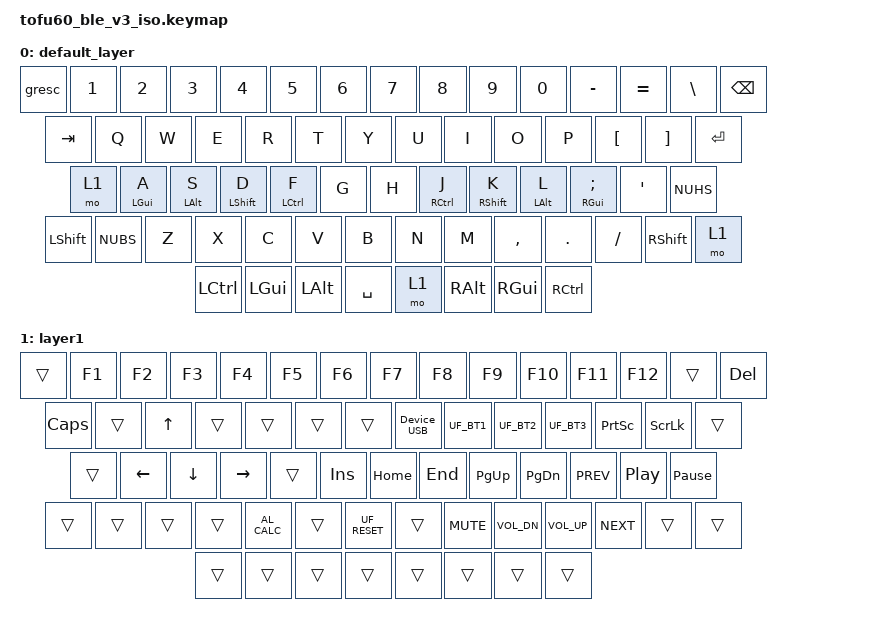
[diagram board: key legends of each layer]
#include "common.keymap"

#define UF_RESET bootloader_reset 0 0
#define UF_BT1 device_bt1 0 0
#define UF_BT2 device_bt2 0 1
#define UF_BT3 device_bt3 0 2

/ {
    keymap {
        compatible = "zmk,keymap";
        
        default_layer {

            bindings = <
    &gresc  &kp N1 &kp N2 &kp N3 &kp N4 &kp N5 &kp N6 &kp N7 &kp N8 &kp N9 &kp N0 &kp MINUS &kp EQUAL &kp BSLH &kp BSPC
    &kp TAB    &kp Q  &kp W  &kp E  &kp R  &kp T  &kp Y  &kp U  &kp I  &kp O  &kp P  &kp LBKT  &kp RBKT  &kp RET
    &mo 1    &hrm_l LGUI A  &hrm_l LALT S  &hrm_l LSHFT D  &hrm_l LCTRL F  &kp G  &kp H  &hrm_r RCTRL J  &hrm_r RSHFT K  &hrm_r LALT L  &hrm_r RGUI SEMI &kp SQT        &kp NUHS
    &kp LSHFT &kp NUBS &kp Z  &kp X  &kp C  &kp V  &kp B  &kp N  &kp M  &kp COMMA &kp DOT &kp FSLH      &kp RSHIFT  &mo 1
    &kp LCTRL &kp LGUI &kp LALT             &kp SPACE                       &mo 1  &kp RALT  &kp RGUI &kp RCTRL
            >;
        };

        layer1 {
            bindings = <
    &trans  &kp F1    &kp F2    &kp F3  &kp F4   &kp F5  &kp F6  &kp F7  &kp F8   &kp F9   &kp F10  &kp F11 &kp F12  &trans  &kp DELETE
    &kp CLCK &trans    &kp UP    &trans  &trans   &trans  &trans  &Device_USB  &UF_BT1  &UF_BT2  &UF_BT3  &kp PRINTSCREEN  &kp SCROLLLOCK  &trans 
    &trans   &kp LEFT  &kp DOWN  &kp RIGHT &trans  &kp INSERT  &kp HOME  &kp END  &kp PAGE_UP  &kp PAGE_DOWN  &kp C_PREV  &kp C_PLAY_PAUSE     &kp PAUSE_BREAK
    &trans &trans  &trans    &trans    &kp C_AL_CALC  &trans &UF_RESET  &trans  &kp C_MUTE  &kp C_VOL_DN  &kp C_VOL_UP   &kp C_NEXT   &trans  &trans
    &trans  &trans   &trans                            &trans                                   &trans    &trans      &trans   &trans
            >;
        };
        layer2 { status = "reserved"; };
        layer3 { status = "reserved"; };
        layer4 { status = "reserved"; };
        layer5 { status = "reserved"; };
        layer6 { status = "reserved"; };
        layer7 { status = "reserved"; };
    };
};
